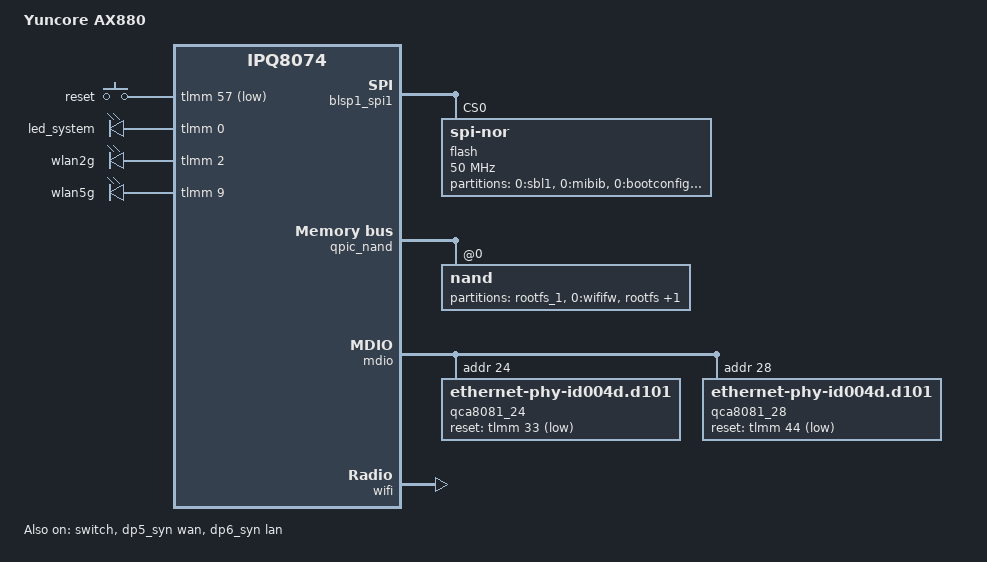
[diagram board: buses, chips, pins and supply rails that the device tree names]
// SPDX-License-Identifier: GPL-2.0-or-later OR MIT

/dts-v1/;

#include "ipq8074.dtsi"
#include "ipq8074-ess.dtsi"
#include "ipq8074-nss.dtsi"
#include "ipq8074-common.dtsi"
#include "ipq8074-hk-cpu.dtsi"

#include <dt-bindings/gpio/gpio.h>
#include <dt-bindings/input/input.h>
#include <dt-bindings/leds/common.h>

/ {
	model = "Yuncore AX880";
	compatible = "yuncore,ax880", "qcom,ipq8074";

	aliases {
		serial0 = &blsp1_uart5;
		serial1 = &blsp1_uart3;

		led-boot = &led_system;
		led-failsafe = &led_system;
		led-running = &led_system;
		led-upgrade = &led_system;

		ethernet0 = &dp5_syn;
		ethernet1 = &dp6_syn;

		label-mac-device = &dp5_syn;
	};

	chosen {
		stdout-path = "serial0:115200n8";
		bootargs-append = " root=/dev/ubiblock0_1";
	};

	keys {
		compatible = "gpio-keys";

		reset {
			label = "reset";
			gpios = <&tlmm 57 GPIO_ACTIVE_LOW>;
			linux,code = <KEY_RESTART>;
		};
	};

	leds {
		compatible = "gpio-leds";

		led_system: system {
			color = "red";
			gpios = <&tlmm 0 GPIO_ACTIVE_HIGH>;
		};

		wlan2g {
			color = "green";
			linux,default-trigger = "phy0tpt";
			gpios = <&tlmm 2 GPIO_ACTIVE_HIGH>;
		};

		wlan5g {
			color = "blue";
			linux,default-trigger = "phy1tpt";
			gpios = <&tlmm 9 GPIO_ACTIVE_HIGH>;
		};
	};
};

&blsp1_spi1 {
	status = "okay";

	flash@0 {
		compatible = "jedec,spi-nor";
		spi-max-frequency = <50000000>;
		reg = <0>;

		partitions {
			compatible = "fixed-partitions";
			#address-cells = <1>;
			#size-cells = <1>;

			partition@0 {
				label = "0:sbl1";
				reg = <0x00000000 0x00050000>;
				read-only;
			};

			partition@50000 {
				label = "0:mibib";
				reg = <0x00050000 0x00010000>;
				read-only;
			};

			partition@60000 {
				label = "0:bootconfig";
				reg = <0x00060000 0x00020000>;
				read-only;
			};

			partition@80000 {
				label = "0:bootconfig1";
				reg = <0x00080000 0x00020000>;
				read-only;
			};

			partition@a0000 {
				label = "0:qsee_1";
				reg = <0x000a0000 0x00180000>;
				read-only;
			};

			partition@220000 {
				label = "0:qsee";
				reg = <0x00220000 0x00180000>;
				read-only;
			};

			partition@3a0000 {
				label = "0:devcfg";
				reg = <0x003a0000 0x00010000>;
				read-only;
			};

			partition@3b0000 {
				label = "0:devcfg_1";
				reg = <0x003b0000 0x00010000>;
				read-only;
			};

			partition@3c0000 {
				label = "0:apdp";
				reg = <0x003c0000 0x00010000>;
				read-only;
			};

			partition@3d0000 {
				label = "0:apdp_1";
				reg = <0x003d0000 0x00010000>;
				read-only;
			};

			partition@3e0000 {
				label = "0:rpm_1";
				reg = <0x003e0000 0x00040000>;
				read-only;
			};

			partition@420000 {
				label = "0:rpm";
				reg = <0x00420000 0x00040000>;
				read-only;
			};

			partition@460000 {
				label = "0:cdt_1";
				reg = <0x00460000 0x00010000>;
				read-only;
			};

			partition@470000 {
				label = "0:cdt";
				reg = <0x00470000 0x00010000>;
				read-only;
			};

			partition@480000 {
				label = "0:appsblenv";
				reg = <0x00480000 0x00010000>;

				nvmem-layout {
					compatible = "u-boot,env";
				};
			};

			partition@490000 {
				label = "0:appsbl_1";
				reg = <0x00490000 0x000a0000>;
				read-only;
			};

			partition@550000 {
				label = "0:appsbl";
				reg = <0x00530000 0x000a0000>;
				read-only;
			};

			partition@610000 {
				label = "0:art";
				reg = <0x005d0000 0x00040000>;
				read-only;
			};

			partition@650000 {
				label = "0:ethphyfw";
				reg = <0x00610000 0x00080000>;
				read-only;
			};

		};
	};
};

&qpic_nand {
	status = "okay";

	partitions {
		status = "disabled";
	};

	nand@0 {
		reg = <0>;

		nand-ecc-strength = <4>;
		nand-ecc-step-size = <512>;
		nand-bus-width = <8>;

		partitions {
			compatible = "fixed-partitions";
			#address-cells = <1>;
			#size-cells = <1>;

			partition@0 {
				label = "rootfs_1";
				reg = <0x00000000 0x03400000>;
			};

			partition@3400000 {
				label = "0:wififw";
				reg = <0x03400000 0x00800000>;
				read-only;
			};

			rootfs: partition@3c00000 {
				label = "rootfs";
				reg = <0x03c00000 0x03400000>;
			};

			partition@7000000 {
				label = "0:wififw_1";
				reg = <0x07000000 0x00800000>;
				read-only;
			};
		};
	};
};

&mdio {
	status = "okay";

	pinctrl-0 = <&mdio_pins>;
	pinctrl-names = "default";

	qca8081_24: ethernet-phy@24 {
		compatible = "ethernet-phy-id004d.d101";
		reg = <24>;
		reset-deassert-us = <10000>;
		reset-gpios = <&tlmm 33 GPIO_ACTIVE_LOW>;
	};

	qca8081_28: ethernet-phy@28 {
		compatible = "ethernet-phy-id004d.d101";
		reg = <28>;
		reset-deassert-us = <10000>;
		reset-gpios = <&tlmm 44 GPIO_ACTIVE_LOW>;
	};
};

&switch {
	status = "okay";

	switch_lan_bmp = <ESS_PORT6>;
	switch_wan_bmp = <ESS_PORT5>;
	switch_mac_mode1 = <MAC_MODE_SGMII_PLUS>;
	switch_mac_mode2 = <MAC_MODE_SGMII_PLUS>;

	qcom,port_phyinfo {
		port@5 {
			port_id = <5>;
			phy_address = <24>;
			port_mac_sel = "QGMAC_PORT";
		};

		port@6 {
			port_id = <6>;
			phy_address = <28>;
			port_mac_sel = "QGMAC_PORT";
		};
	};
};

&edma {
	status = "okay";
};

&dp5_syn {
	status = "okay";
	phy-handle = <&qca8081_24>;
	label = "wan";
};

&dp6_syn {
	status = "okay";
	phy-handle = <&qca8081_28>;
	label = "lan";
};

&wifi {
	status = "okay";
	qcom,ath11k-fw-memory-mode = <1>;
	qcom,ath11k-calibration-variant = "Yuncore-AX880";
};
